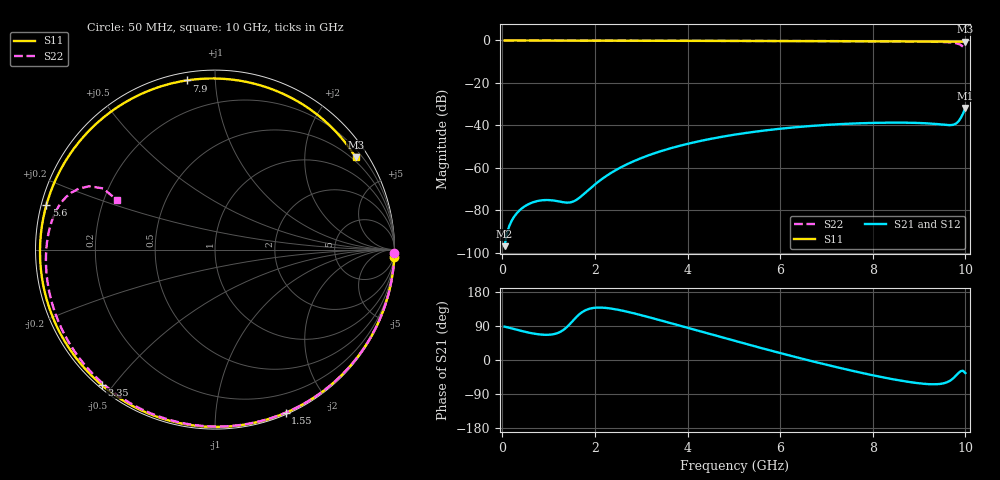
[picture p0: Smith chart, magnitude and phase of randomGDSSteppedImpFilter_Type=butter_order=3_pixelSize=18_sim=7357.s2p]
! freq	dB(S11)	phase(S11)	dB(S12)	phase(S12)
!  dB(S21)	phase(S21)	dB(S22)	phase(S22)
!S-par simulation data
#  GHz  S  DB  R 50
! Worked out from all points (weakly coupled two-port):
!   200 points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, 50 MHz to 10 GHz, reference 50 ohm
!   highest |S21| = -31.80 dB at 10 GHz (marker M1); lowest = -96.9 dB at 50 MHz (marker M2)
!   lowest |S11| = -0.6 dB at 10 GHz (marker M3), VSWR 30.89, Z = 19.5 + j165 ohm
!   |S11| at or under -10 dB: nowhere
!   |S22| runs from -4.2 to 0.0 dB; largest |S21 - S12| = 0
!   S11 on the Smith chart (normalised r, x): 50 MHz: 0, -50; 1.55 GHz: 0.02, -1.52; 3.35 GHz: 0.01, -0.47; 5.6 GHz: 0.01, +0.13; 7.9 GHz: 0.04, +0.85; 10 GHz: 0.39, +3.31
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0.05  -0.00 -2.3  -96.93 88.0  -96.93 88.0  -0.00 -1.2
0.35  -0.02 -15.7  -80.52 78.6  -80.52 78.6  -0.01 -8.0
0.6  -0.04 -26.7  -76.79 71.5  -76.79 71.5  -0.02 -13.7
0.85  -0.05 -37.6  -75.33 67.0  -75.33 67.0  -0.02 -19.4
1.4  -0.08 -60.6  -76.41 87.6  -76.41 87.6  -0.04 -31.8
1.55  -0.08 -66.6  -75.72 107.0  -75.72 107.0  -0.04 -35.1
1.75  -0.09 -74.5  -72.56 128.2  -72.56 128.2  -0.05 -39.5
2.45  -0.12 -100.2  -61.11 133.7  -61.11 133.7  -0.07 -54.6
3.35  -0.15 -130.0  -52.69 106.9  -52.69 106.9  -0.10 -73.3
3.4  -0.15 -131.5  -52.33 105.2  -52.33 105.2  -0.10 -74.3
4.2  -0.18 -155.5  -47.72 78.0  -47.72 78.0  -0.13 -90.1
5.05  -0.22 -179.5  -44.27 49.4  -44.27 49.4  -0.16 -106.3
5.6  -0.25 165.3  -42.60 31.2  -42.60 31.2  -0.19 -116.4
6.7  -0.31 134.6  -40.23 -3.5  -40.23 -3.5  -0.26 -136.3
7.3  -0.35 117.3  -39.41 -21.2  -39.41 -21.2  -0.31 -147.0
7.9  -0.39 99.5  -38.90 -37.7  -38.90 -37.7  -0.37 -157.9
8.35  -0.43 85.8  -38.73 -48.8  -38.73 -48.8  -0.42 -166.3
9.25  -0.49 57.4  -39.16 -63.9  -39.16 -63.9  -0.60 175.3
9.75  -0.54 41.3  -39.65 -46.9  -39.65 -46.9  -1.11 160.5
9.85  -0.55 38.1  -38.13 -34.3  -38.13 -34.3  -1.61 155.8
9.95  -0.56 34.8  -34.43 -28.5  -34.43 -28.5  -2.97 151.3
10  -0.56 33.3  -31.80 -34.6  -31.80 -34.6  -4.23 153.1
